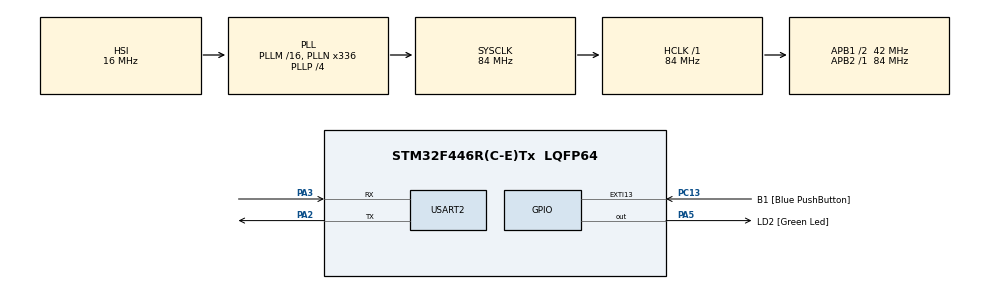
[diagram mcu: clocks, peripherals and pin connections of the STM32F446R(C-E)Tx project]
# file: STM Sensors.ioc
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Mcu.Family=STM32F4
Mcu.Name=STM32F446R(C-E)Tx
Mcu.Package=LQFP64
NVIC.PriorityGroup=NVIC_PRIORITYGROUP_0
NVIC.USART2_IRQn=true\:0\:0\:false\:false\:true\:true\:true\:true
PA13.GPIO_Label=TMS
PA13.Mode=Serial_Wire
PA13.Signal=SYS_JTMS-SWDIO
PA14.GPIO_Label=TCK
PA14.Mode=Serial_Wire
PA14.Signal=SYS_JTCK-SWCLK
PA2.GPIO_ModeDefaultPP=GPIO_MODE_AF_PP
PA2.GPIO_PuPd=GPIO_NOPULL
PA2.GPIO_Speed=GPIO_SPEED_FREQ_VERY_HIGH
PA2.Mode=Asynchronous
PA2.Signal=USART2_TX
PA3.GPIO_ModeDefaultPP=GPIO_MODE_AF_PP
PA3.GPIO_PuPd=GPIO_NOPULL
PA3.GPIO_Speed=GPIO_SPEED_FREQ_VERY_HIGH
PA3.Mode=Asynchronous
PA3.Signal=USART2_RX
PA5.GPIO_Label=LD2 [Green Led]
PA5.Signal=GPIO_Output
PB3.GPIO_Label=SWO
PB3.Signal=SYS_JTDO-SWO
PC13.GPIO_Label=B1 [Blue PushButton]
PC13.GPIO_ModeDefaultEXTI=GPIO_MODE_IT_FALLING
PC13.Signal=GPXTI13
PC14-OSC32_IN.Mode=LSE-External-Oscillator
PC14-OSC32_IN.Signal=RCC_OSC32_IN
PC15-OSC32_OUT.Mode=LSE-External-Oscillator
PC15-OSC32_OUT.Signal=RCC_OSC32_OUT
PH0-OSC_IN.Mode=HSE-External-Oscillator
PH0-OSC_IN.Signal=RCC_OSC_IN
PH1-OSC_OUT.Mode=HSE-External-Oscillator
PH1-OSC_OUT.Signal=RCC_OSC_OUT
ProjectManager.HeapSize=0x200
ProjectManager.StackSize=0x400
ProjectManager.TargetToolchain=STM32CubeIDE
RCC.48MHZClocksFreq_Value=84000000
RCC.AHBFreq_Value=84000000
RCC.APB1CLKDivider=RCC_HCLK_DIV2
RCC.APB1Freq_Value=42000000
RCC.APB1TimFreq_Value=84000000
RCC.APB2Freq_Value=84000000
RCC.APB2TimFreq_Value=84000000
RCC.CortexFreq_Value=84000000
RCC.FLatency-AdvancedSettings=FLASH_LATENCY_2
RCC.HCLKFreq_Value=84000000
RCC.HSE_VALUE=8000000
RCC.HSI_VALUE=16000000
RCC.PLLN=336
RCC.PLLP=RCC_PLLP_DIV4
RCC.SYSCLKFreq_VALUE=84000000
RCC.SYSCLKSource=RCC_SYSCLKSOURCE_PLLCLK
RCC.USBFreq_Value=168000000
RCC.VCOOutputFreq_Value=336000000
USART2.VirtualMode=VM_ASYNC
board=NUCLEO-F446RE

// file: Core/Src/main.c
/* USER CODE BEGIN Header */
/**
  ******************************************************************************
  * @file           : main.c
  * @brief          : Main program body
  ******************************************************************************
  * @attention
  *
  * Copyright (c) 2026 STMicroelectronics.
  * All rights reserved.
  *
  * This software is licensed under terms that can be found in the LICENSE file
  * in the root directory of this software component.
  * If no LICENSE file comes with this software, it is provided AS-IS.
  *
  ******************************************************************************
  */
/* USER CODE END Header */
#include "main.h"

/* USER CODE BEGIN Includes */
#include <string.h>
#include "algoMorseH/convertionMorse.h"
/* USER CODE END Includes */

UART_HandleTypeDef huart2;

/* USER CODE BEGIN PV */

// Buffer pour stocker le message de PuTTY

/* USER CODE END PV */

void SystemClock_Config(void);
static void MX_GPIO_Init(void);
static void MX_USART2_UART_Init(void);

int main(void)
{

	/* MCU Configuration--------------------------------------------------------*/

	/* Reset of all peripherals, Initializes the Flash interface and the Systick. */
	HAL_Init();

	/* Configure the system clock */
	SystemClock_Config();

	/* Initialize all configured peripherals */
	MX_GPIO_Init();
	MX_USART2_UART_Init();
	/* USER CODE BEGIN 2 */

	char *hello = "Veuillez entrez un mot :\r\n";
	HAL_UART_Transmit(&huart2, (uint8_t*)hello, strlen(hello), 100);

	char c;
	char message[50];
	int index = 0;

	/* USER CODE END 2 */

	/* Infinite loop */
	/* USER CODE BEGIN WHILE */
	while (1)
	{

		// On reçoit 1 seul caractère à la fois avec un timeout court
		if (HAL_UART_Receive(&huart2, (uint8_t*)&c, 1, 10) == HAL_OK) {
			if (c == '\r' || c == '\n') { // Si on appuie sur Entrée
				message[index] = '\0';   // On ferme la chaîne
				HAL_UART_Transmit(&huart2, (uint8_t*)"\r\nEnvoi Morse...\r\n", strlen("\r\nEnvoi Morse...\r\n"), 100);

				convMorse(message, LD2_GPIO_Port, LD2_Pin);

				index = 0; // On vide le buffer pour le prochain message
				char *next = "\r\nEntrez un nouveau message :\r\n";
				HAL_UART_Transmit(&huart2, (uint8_t*)next, strlen(next), 100);
			}

			// 2. GESTION DU BACKSPACE (Effacer)
			else if (c == 8 || c == 127) {
				if (index > 0) {
					index--; // On recule dans le tableau
					// On envoie la séquence magique à PuTTY : Reculer, Effacer, Reculer
					HAL_UART_Transmit(&huart2, (uint8_t*)"\b \b", 3, 10);
				}
			}

			// 3. GESTION DES CARACTÈRES NORMAUX
			else {
				if (index < 49) { // On bloque à 49
					message[index++] = c;
					HAL_UART_Transmit(&huart2, (uint8_t*)&c, 1, 10); // Écho
				}
				// Si c'est plein, on ne fait juste RIEN (pas de "!!!")
			}

		}

		/* USER CODE END WHILE */

	}
}

void SystemClock_Config(void)
{
  RCC_OscInitTypeDef RCC_OscInitStruct = {0};
  RCC_ClkInitTypeDef RCC_ClkInitStruct = {0};

  /** Configure the main internal regulator output voltage
  */
  __HAL_RCC_PWR_CLK_ENABLE();
  __HAL_PWR_VOLTAGESCALING_CONFIG(PWR_REGULATOR_VOLTAGE_SCALE3);

  /** Initializes the RCC Oscillators according to the specified parameters
  * in the RCC_OscInitTypeDef structure.
  */
  RCC_OscInitStruct.OscillatorType = RCC_OSCILLATORTYPE_HSI;
  RCC_OscInitStruct.HSIState = RCC_HSI_ON;
  RCC_OscInitStruct.HSICalibrationValue = RCC_HSICALIBRATION_DEFAULT;
  RCC_OscInitStruct.PLL.PLLState = RCC_PLL_ON;
  RCC_OscInitStruct.PLL.PLLSource = RCC_PLLSOURCE_HSI;
  RCC_OscInitStruct.PLL.PLLM = 16;
  RCC_OscInitStruct.PLL.PLLN = 336;
  RCC_OscInitStruct.PLL.PLLP = RCC_PLLP_DIV4;
  RCC_OscInitStruct.PLL.PLLQ = 2;
  RCC_OscInitStruct.PLL.PLLR = 2;
  if (HAL_RCC_OscConfig(&RCC_OscInitStruct) != HAL_OK)
  {
    Error_Handler();
  }

  /** Initializes the CPU, AHB and APB buses clocks
  */
  RCC_ClkInitStruct.ClockType = RCC_CLOCKTYPE_HCLK|RCC_CLOCKTYPE_SYSCLK
                              |RCC_CLOCKTYPE_PCLK1|RCC_CLOCKTYPE_PCLK2;
  RCC_ClkInitStruct.SYSCLKSource = RCC_SYSCLKSOURCE_PLLCLK;
  RCC_ClkInitStruct.AHBCLKDivider = RCC_SYSCLK_DIV1;
  RCC_ClkInitStruct.APB1CLKDivider = RCC_HCLK_DIV2;
  RCC_ClkInitStruct.APB2CLKDivider = RCC_HCLK_DIV1;

  if (HAL_RCC_ClockConfig(&RCC_ClkInitStruct, FLASH_LATENCY_2) != HAL_OK)
  {
    Error_Handler();
  }
}

static void MX_USART2_UART_Init(void)
{

  huart2.Instance = USART2;
  huart2.Init.BaudRate = 115200;
  huart2.Init.WordLength = UART_WORDLENGTH_8B;
  huart2.Init.StopBits = UART_STOPBITS_1;
  huart2.Init.Parity = UART_PARITY_NONE;
  huart2.Init.Mode = UART_MODE_TX_RX;
  huart2.Init.HwFlowCtl = UART_HWCONTROL_NONE;
  huart2.Init.OverSampling = UART_OVERSAMPLING_16;
  if (HAL_UART_Init(&huart2) != HAL_OK)
  {
    Error_Handler();
  }

}

static void MX_GPIO_Init(void)
{
  GPIO_InitTypeDef GPIO_InitStruct = {0};

  /* GPIO Ports Clock Enable */
  __HAL_RCC_GPIOC_CLK_ENABLE();
  __HAL_RCC_GPIOH_CLK_ENABLE();
  __HAL_RCC_GPIOA_CLK_ENABLE();
  __HAL_RCC_GPIOB_CLK_ENABLE();

  /*Configure GPIO pin Output Level */
  HAL_GPIO_WritePin(LD2_GPIO_Port, LD2_Pin, GPIO_PIN_RESET);

  /*Configure GPIO pin : B1_Pin */
  GPIO_InitStruct.Pin = B1_Pin;
  GPIO_InitStruct.Mode = GPIO_MODE_IT_FALLING;
  GPIO_InitStruct.Pull = GPIO_NOPULL;
  HAL_GPIO_Init(B1_GPIO_Port, &GPIO_InitStruct);

  /*Configure GPIO pin : LD2_Pin */
  GPIO_InitStruct.Pin = LD2_Pin;
  GPIO_InitStruct.Mode = GPIO_MODE_OUTPUT_PP;
  GPIO_InitStruct.Pull = GPIO_NOPULL;
  GPIO_InitStruct.Speed = GPIO_SPEED_FREQ_LOW;
  HAL_GPIO_Init(LD2_GPIO_Port, &GPIO_InitStruct);

}

void Error_Handler(void)
{
  __disable_irq();
  while (1)
  {
  }
}
